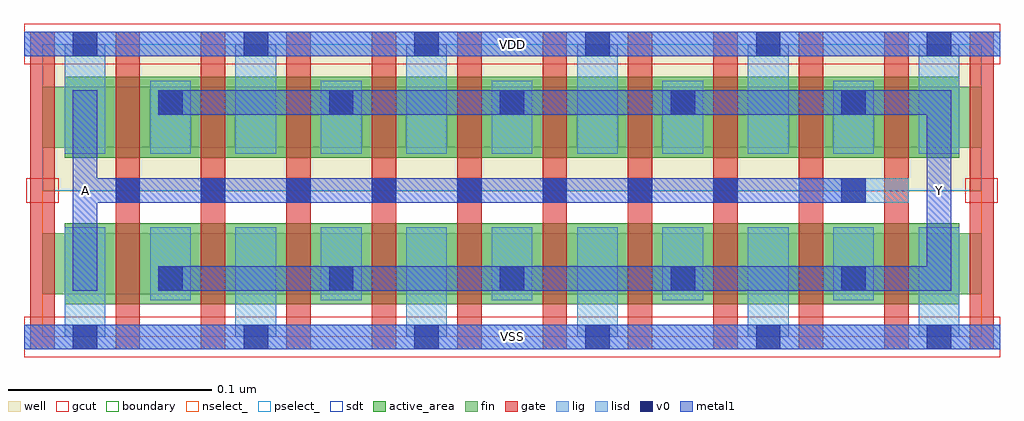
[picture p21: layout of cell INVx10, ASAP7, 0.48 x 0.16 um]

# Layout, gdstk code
import gdstk
lib = gdstk.Library(unit=1e-6, precision=2.5e-10)
def R(c, l, rs):  # rectangles x0, y0, x1, y1
    for r in rs: c.add(gdstk.rectangle(r[:2], r[2:], *l))
def A(c, l, x, y, w, h, nx, ny, dx, dy):  # array of equal rectangles
    R(c, l, [(x+i*dx, y+j*dy, x+i*dx+w, y+j*dy+h) for i in range(nx) for j in range(ny)])
def P(c, l, *ps):  # polygons
    for p in ps: c.add(gdstk.Polygon(p, *l))
well = (1, 0)
fin = (2, 0)
gate = (7, 0)
gcut = (10, 0)
active_area = (11, 0)
nselect_ = (12, 0)
pselect_ = (13, 0)
lig = (16, 0)
lisd = (17, 0)
v0 = (18, 0)
metal1 = (19, 0)
sdt = (88, 0)
boundary = (100, 0)

invx10 = lib.new_cell('INVx10')
R(invx10, well, [(0,0.072,0.462,0.144)])
R(invx10, fin, [(0,0.021,0.462,0.051), (0,0.093,0.462,0.123)])
A(invx10, gate, -0.006, -0.006, 0.012, 0.156, 12, 1, 0.042, 0)
R(invx10, gcut, [(-0.009,-0.01,0.471,0.01), (-0.008,0.066,0.008,0.078), (0.454,0.066,0.47,0.078), (-0.009,0.134,0.471,0.154)])
R(invx10, active_area, [(0.011,0.016,0.451,0.056), (0.011,0.088,0.451,0.128)])
R(invx10, nselect_, [(0,0,0.462,0.072)])
R(invx10, pselect_, [(0,0.072,0.462,0.144)])
A(invx10, lig, 0.036, 0.066, 0.012, 0.012, 8, 1, 0.042, 0)
R(invx10, lig, [(-0.009,-0.006,0.471,0.006), (0.372,0.066,0.426,0.078), (-0.009,0.138,0.471,0.15)])
A(invx10, lisd, 0.011, 0, 0.02, 0.054, 6, 2, 0.084, 0.09)
A(invx10, lisd, 0.053, 0.018, 0.02, 0.036, 5, 2, 0.084, 0.072)
A(invx10, v0, 0.015, -0.006, 0.012, 0.012, 6, 2, 0.084, 0.144)
A(invx10, v0, 0.057, 0.0227, 0.012, 0.012, 5, 2, 0.084, 0.0865)
A(invx10, v0, 0.036, 0.066, 0.012, 0.012, 8, 1, 0.042, 0)
R(invx10, v0, [(0.393,0.066,0.405,0.078)])
R(invx10, metal1, [(-0.009,-0.006,0.471,0.006), (-0.009,0.138,0.471,0.15)])
P(invx10, metal1, [(0.015,0.0227),(0.027,0.0227),(0.027,0.066),(0.405,0.066),(0.405,0.078),(0.027,0.078),(0.027,0.1212),(0.015,0.1212)],
  [(0.057,0.1092),(0.435,0.1092),(0.435,0.0348),(0.057,0.0348),(0.057,0.0227),(0.447,0.0227),(0.447,0.1212),(0.057,0.1212)])
A(invx10, sdt, 0.011, 0.021, 0.02, 0.03, 11, 2, 0.042, 0.072)
R(invx10, boundary, [(0,0,0.462,0.144)])
invx10.add(gdstk.Label('Y', (0.441,0.072), layer=19, texttype=251))
invx10.add(gdstk.Label('A', (0.021,0.072), layer=19, texttype=251))
invx10.add(gdstk.Label('VSS', (0.231,0), layer=19, texttype=251))
invx10.add(gdstk.Label('VDD', (0.231,0.144), layer=19, texttype=251))

lib.write_gds('INVx10.gds')
